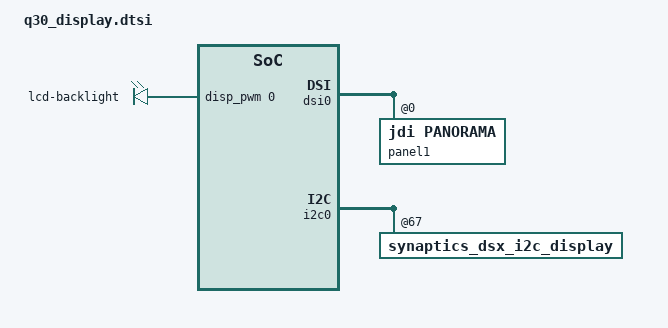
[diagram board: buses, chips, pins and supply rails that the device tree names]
#include "qx0_display.dtsi"

&display_ldo {
	regulator-boot-on;
};

&mtk_leds {
	compatible = "mediatek,pwm-leds";

	backlight {
		label = "lcd-backlight";
		max-brightness = <255>;
		max-hw-brightness = <1023>;
		led_mode = <5>;
		gate_enable = <0>;
		pwm_config = <0 1 0 0 0>;
		pwms = <&disp_pwm 0 39385>;
		pwm-names = "lcd-backlight";
	};
};

&dsi0 {
	panel1@0 {
		compatible = "jdi,panorama";
	};
};

&i2c0 {
	synaptics_dsx_i2c_display@67 {
		synaptics,reset-delay-ms = <60>;
		synaptics,reset-active-ms = <200>;
		synaptics,firmware = "passport_display.bin";
	};
};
